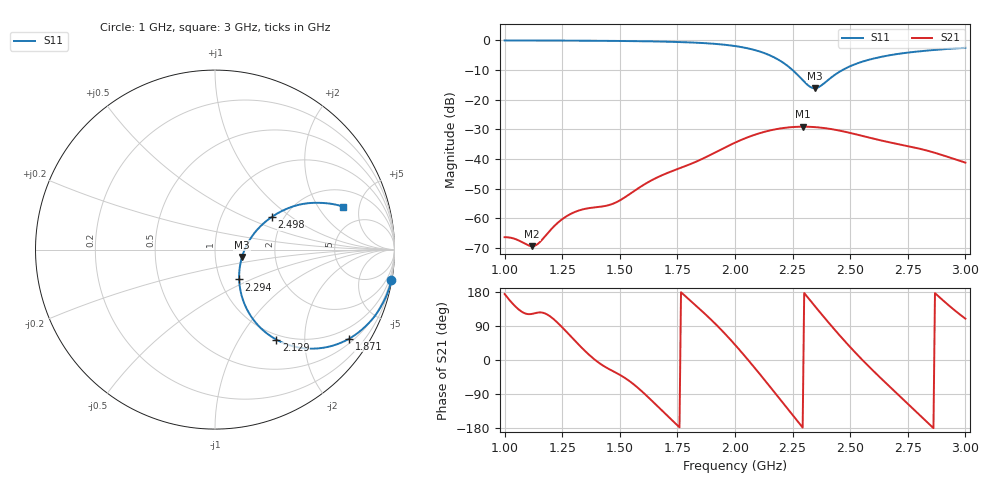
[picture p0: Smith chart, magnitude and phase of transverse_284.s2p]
! TOUCHSTONE file generated by CST MICROWAVE STUDIO
! Date and time: Tue Mar 11 13:58:26 2025
! Project name: transverse.cst
! Parameters = {Fracture=5; B=12.5; D=160; F=25; Feed=2.85625; L=100; M=20; R=0.384908; S=2; Theta=270; length=57.125; wave=114.25}
! Header version: 2024
! Port assignment regex: !\s*Touchstone port\s*([0-9]+)\s*=\s*(CST MWS port|CST DES external port|CST DES block port)\s*(.+)\s* \(\"(.*)\"\)(\s*mode\s*([0-9]+))?.*
! Touchstone port assignment:
! Touchstone port 1 = CST MWS port 1 ("")
! Touchstone port 2 = CST MWS port 2 ("")
# GHz S MA R 50
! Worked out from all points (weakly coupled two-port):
!   304 points, 1 GHz to 3 GHz, reference 50 ohm
!   highest |S21| = -29.12 dB at 2.294 GHz (marker M1); lowest = -69.4 dB at 1.119 GHz (marker M2)
!   lowest |S11| = -16.1 dB at 2.347 GHz (marker M3), VSWR 1.37, Z = 67.5 - j5.64 ohm
!   |S11| at or under -10 dB: 2.25 GHz to 2.466 GHz (216.6 MHz wide, 9.19 % of centre)
!   S12 and S22 are empty: the file has one direction only
!   S11 on the Smith chart (normalised r, x): 1 GHz: 0, -12; 1.871 GHz: 0.63, -3.20; 2.129 GHz: 0.92, -1.47; 2.294 GHz: 1.23, -0.43; 2.498 GHz: 1.73, +0.73; 3 GHz: 3.10, +3.40
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1  0.9976 -9.7  0.0004785 174.2  0 0.0  0 0.0
1.0396  0.9972 -10.3  0.0004548 145.7  0 0.0  0 0.0
1.11881  0.9961 -11.4  0.0003376 121.7  0 0.0  0 0.0
1.15182  0.9953 -11.9  0.0003916 125.6  0 0.0  0 0.0
1.21122  0.9935 -12.9  0.000709 108.6  0 0.0  0 0.0
1.25083  0.9921 -13.6  0.0009682 85.7  0 0.0  0 0.0
1.33663  0.9888 -15.2  0.001401 31.2  0 0.0  0 0.0
1.47525  0.9799 -18.2  0.001787 -31.0  0 0.0  0 0.0
1.66667  0.9582 -23.9  0.004965 -123.8  0 0.0  0 0.0
1.87129  0.8973 -33.6  0.01062 120.8  0 0.0  0 0.0
2.0033  0.7991 -43.5  0.01908 38.1  0 0.0  0 0.0
2.12871  0.6077 -55.7  0.02875 -52.9  0 0.0  0 0.0
2.21452  0.4067 -61.8  0.03343 -118.1  0 0.0  0 0.0
2.29373  0.2139 -51.0  0.03501 -178.3  0 0.0  0 0.0
2.33993  0.1567 -20.7  0.03458 147.1  0 0.0  0 0.0
2.34653  0.156 -15.2  0.03444 142.2  0 0.0  0 0.0
2.37294  0.1719 4.7  0.03371 122.8  0 0.0  0 0.0
2.41914  0.239 22.9  0.03184 89.5  0 0.0  0 0.0
2.49835  0.3646 29.9  0.02755 35.1  0 0.0  0 0.0
2.66997  0.5606 27.2  0.0191 -69.5  0 0.0  0 0.0
2.83498  0.6736 22.5  0.01379 -164.8  0 0.0  0 0.0
3  0.7505 18.6  0.00867 109.0  0 0.0  0 0.0
